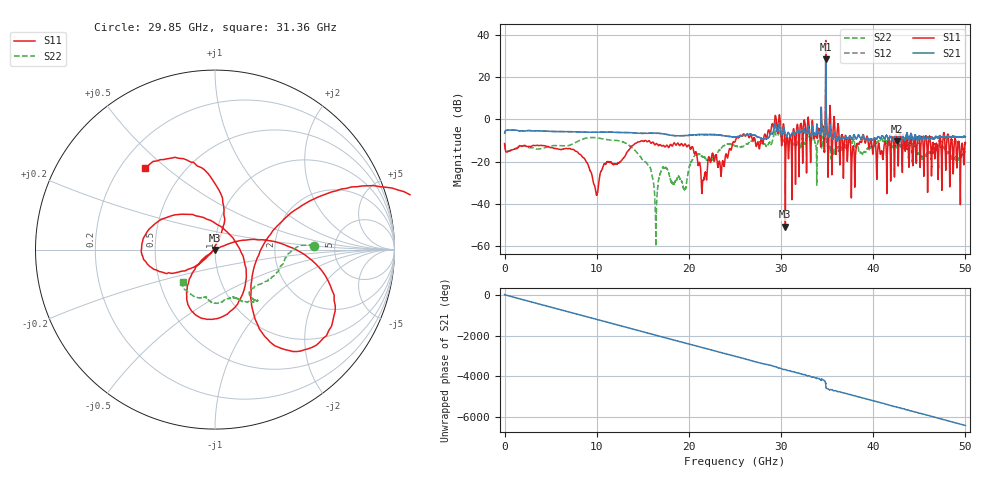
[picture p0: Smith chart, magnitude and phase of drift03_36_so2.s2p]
!Created with skrf (http://scikit-rf.org).
# Hz S RI R 50.0
!freq ReS11 ImS11 ReS21 ImS21 ReS12 ImS12 ReS22 ImS22
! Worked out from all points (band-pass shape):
!   10001 points, 300 kHz to 50 GHz, reference 50 ohm
!   highest |S21| = 28.37 dB at 34.85 GHz (marker M1); lowest = -10.4 dB at 42.56 GHz (marker M2)
!   |S21| within 3 dB of the highest: 34.84386 GHz to 34.84599 GHz (2.124 MHz wide, 0.0061 % of centre)
!   lowest |S11| = -50.7 dB at 30.47 GHz (marker M3), VSWR 1.01, Z = 49.8 - j0.187 ohm
!   |S11| at or under -10 dB: start of sweep to 15.23 GHz; 15.32 GHz to 25.05 GHz (9.736 GHz wide, 48.2 % of centre); 40.22 GHz to 41.62 GHz (1.397 GHz wide, 3.41 % of centre) (the widest 3 of 57)
!   |S22| runs from -59.9 to 19.3 dB; largest |S21 - S12| = 3.7
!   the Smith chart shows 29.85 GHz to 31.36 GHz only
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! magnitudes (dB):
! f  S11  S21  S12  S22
! 300 kHz  -11.4  -6.5  -6.5  -11.5
! 8.335 GHz  -17.1  -6.0  -6.0  -9.6
! 9.955 GHz  -35.6  -6.1  -6.1  -8.7
! 10.99 GHz  -20.8  -6.0  -6.0  -9.5
! 13.92 GHz  -12.3  -6.3  -6.3  -13.7
! 16.36 GHz  -11.9  -6.5  -6.5  -42.6
! 16.67 GHz  -12.4  -6.5  -6.5  -29.7
! 17.33 GHz  -12.7  -7.0  -6.9  -22.9
! 19.54 GHz  -11.7  -7.7  -7.7  -33.1
! 20.22 GHz  -13.9  -7.5  -7.5  -20.2
! 21.55 GHz  -28.8  -7.2  -7.2  -17.7
! 25 GHz  -10.6  -8.3  -8.2  -12.6
! 29.6 GHz  -5.6  -5.7  -5.9  -7.8
! 30.47 GHz  -50.7  -7.2  -7.2  -9.0
! 33.34 GHz  -3.7  -6.9  -6.7  -9.4
! 34.85 GHz  37.3  28.4  28.1  19.3
! 35.62 GHz  -7.2  -9.3  -9.0  -15.9
! 37.82 GHz  -12.7  -8.4  -8.3  -9.8
! 38.81 GHz  -9.1  -8.3  -8.3  -16.2
! 41.67 GHz  -9.5  -9.4  -9.4  -11.5
! 42.56 GHz  -8.3  -10.4  -10.5  -13.3
! 50 GHz  -10.9  -8.2  -8.2  -15.5
